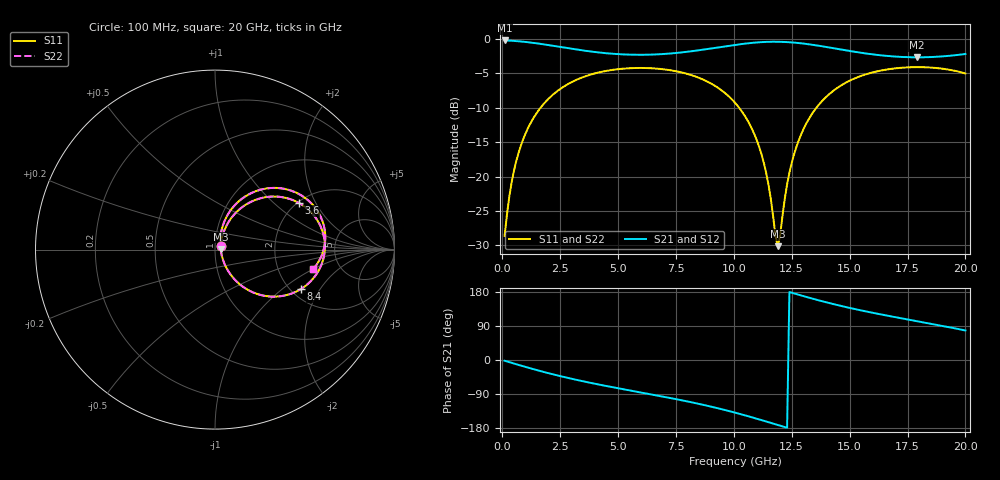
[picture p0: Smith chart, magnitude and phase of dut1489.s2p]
! Touchstone file exported from HFSS 2026.1.0
!  File:  C:/ffzhzh/LocalFiles/Ansys_Project_Files/temp_train_TSV_RDL_1489_1783386732_3164.aedt
!  Generated:  09:21:06 AM Jul  7, 2026
!  Design:  TSV_RDL
!  Project:  temp_train_TSV_RDL_1489_1783386732_3164
! Variables:
!  h_bsmrdl = 5.89um
!  h_ox = 20um
!  h_rdl = 5um
!  h_sub = 84.85um
!  h_tmrdl = 3.25um
!  h_tsv = 84.85um
!  h_via = 3um
!  l_bsmrdl = 372.93um
!  l_sub = 4672.15um
!  l_tmrdl = 758.46um
!  m_sub = 200um
!  pitch = 54.22um
!  r_tsv = 8.58um
!  s_tmrdl = 10um
!  w_bsmrdl = 27.61um
!  w_sub = 500um
!  w_tmrdl = 12.23um
!  x_tsv_center1 = 764.575um
!  x_tsv_center2 = 1165.115um
!  x_tsv_center3 = 1935.805um
!  x_tsv_center4 = 2336.345um
!  x_tsv_center5 = 3107.035um
!  x_tsv_center6 = 3507.575um
# GHz S MA R 50.000000
! Terminal data exported
! Port[1] = TM_RDL1_1_T1
! Port[2] = TM_RDL5_1_T1
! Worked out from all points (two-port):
!   200 points, 100 MHz to 20 GHz, reference 50 ohm
!   highest |S21| = -0.27 dB at 100 MHz (marker M1); lowest = -2.7 dB at 17.9 GHz (marker M2)
!   |S21| within 3 dB of the highest: start of sweep to end of sweep
!   lowest |S11| = -30.1 dB at 11.9 GHz (marker M3), VSWR 1.06, Z = 53.2 + j0.451 ohm
!   |S11| at or under -10 dB: start of sweep to 1.659 GHz; 10.22 GHz to 13.57 GHz (3.352 GHz wide, 28.2 % of centre)
!   |S22| runs from -30.2 to -4.1 dB; largest |S21 - S12| = 1.6e-14
!   S11 on the Smith chart (normalised r, x): 100 MHz: 1.06, +0.04; 3.6 GHz: 2.02, +1.48; 8.4 GHz: 2.26, -1.37; 20 GHz: 3.19, -0.99
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0.1  0.03705 33.9  0.9697 -1.9  0.9697 -1.9  0.03705 33.9
! Gamma 0 0 0 0
! Port Impedance 50 0 50 0
0.3  0.07102 58.4  0.9669 -5.6  0.9669 -5.6  0.07102 58.4
0.5  0.1094 63.7  0.9625 -9.3  0.9625 -9.3  0.1094 63.7
1.1  0.2223 61.4  0.9421 -20.0  0.9421 -20.0  0.2223 61.4
2.1  0.3807 48.6  0.8919 -36.5  0.8919 -36.5  0.3807 48.6
3.5  0.5265 30.5  0.8196 -56.3  0.8196 -56.3  0.5266 30.5
3.6  0.5338 29.3  0.8152 -57.6  0.8152 -57.6  0.5339 29.3
5.2  0.605 11.1  0.7685 -76.8  0.7685 -76.8  0.605 11.1
6.8  0.6034 -6.1  0.7703 -95.0  0.7703 -95.0  0.6034 -6.2
8.4  0.5269 -24.6  0.8195 -114.6  0.8195 -114.6  0.5269 -24.6
10.1  0.3352 -46.9  0.9029 -139.7  0.9029 -139.7  0.3352 -47.0
10.7  0.2361 -54.5  0.9285 -149.8  0.9285 -149.8  0.2361 -54.6
11.2  0.1438 -58.2  0.943 -158.7  0.943 -158.7  0.1437 -58.3
11.5  0.08661 -54.9  0.9478 -164.1  0.9478 -164.1  0.08654 -55.1
11.9  0.03125 7.8  0.9488 -171.5  0.9488 -171.5  0.03102 7.8
12.3  0.08759 68.8  0.9435 -178.8  0.9435 -178.8  0.0875 68.9
12.5  0.1256 71.7  0.9387 177.5  0.9387 177.5  0.1256 71.8
13.4  0.2883 64.7  0.9019 161.8  0.9019 161.8  0.2883 64.7
14.9  0.4854 45.1  0.8189 138.8  0.8189 138.8  0.4854 45.0
16.7  0.6004 24.2  0.7469 116.2  0.7469 116.2  0.6004 24.2
17.9  0.6212 11.6  0.7317 102.6  0.7317 102.6  0.6212 11.5
20  0.5586 -11.0  0.7735 77.9  0.7735 77.9  0.5585 -11.1
